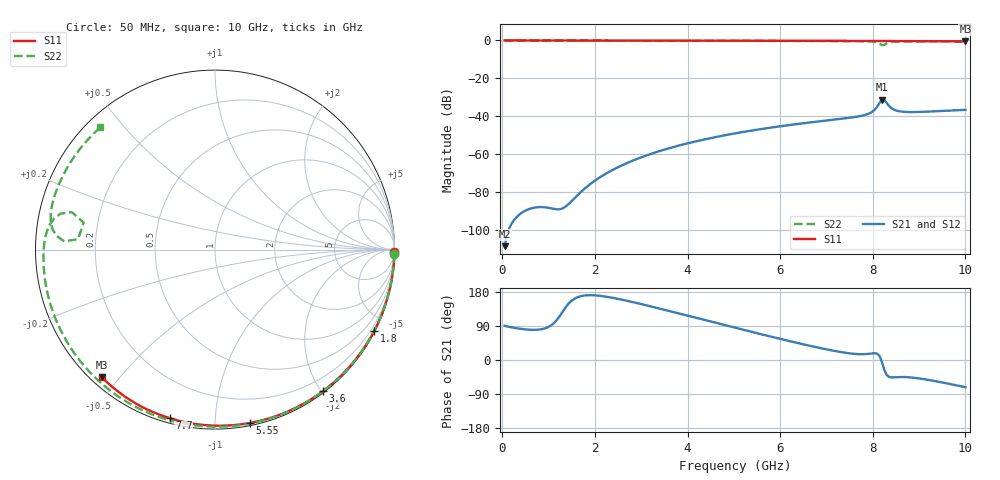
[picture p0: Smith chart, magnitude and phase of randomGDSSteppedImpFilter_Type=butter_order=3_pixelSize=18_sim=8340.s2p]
! freq	dB(S11)	phase(S11)	dB(S12)	phase(S12)
!  dB(S21)	phase(S21)	dB(S22)	phase(S22)
!S-par simulation data
#  GHz  S  DB  R 50
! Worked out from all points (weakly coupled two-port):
!   200 points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, 50 MHz to 10 GHz, reference 50 ohm
!   highest |S21| = -31.20 dB at 8.2 GHz (marker M1); lowest = -108.5 dB at 50 MHz (marker M2)
!   lowest |S11| = -0.4 dB at 10 GHz (marker M3), VSWR 39.29, Z = 1.53 - j22.5 ohm
!   |S11| at or under -10 dB: nowhere
!   |S22| runs from -2.5 to 0.0 dB; largest |S21 - S12| = 0
!   S11 on the Smith chart (normalised r, x): 50 MHz: open; 1.8 GHz: 0.04, -4.17; 3.6 GHz: 0.02, -2.02; 5.55 GHz: 0.02, -1.22; 7.7 GHz: 0.02, -0.77; 10 GHz: 0.03, -0.45
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0.05  -0.00 -0.8  -108.50 90.5  -108.50 90.5  -0.00 -1.4
0.85  -0.02 -12.8  -87.88 81.3  -87.88 81.3  -0.03 -23.5
1.65  -0.03 -24.7  -81.00 166.9  -81.00 166.9  -0.06 -45.0
1.75  -0.03 -26.2  -78.74 169.8  -78.74 169.8  -0.06 -47.6
1.8  -0.03 -26.9  -77.69 170.6  -77.69 170.6  -0.06 -48.9
2.1  -0.04 -31.3  -72.29 169.5  -72.29 169.5  -0.07 -56.6
2.45  -0.05 -36.4  -67.43 162.5  -67.43 162.5  -0.08 -65.5
3.4  -0.07 -49.9  -58.33 135.6  -58.33 135.6  -0.11 -88.3
3.6  -0.07 -52.7  -56.87 129.5  -56.87 129.5  -0.12 -93.0
4.3  -0.09 -62.3  -52.55 107.7  -52.55 107.7  -0.15 -108.7
5.05  -0.11 -72.2  -48.91 84.4  -48.91 84.4  -0.18 -124.8
5.55  -0.13 -78.7  -46.88 69.2  -46.88 69.2  -0.21 -135.2
6.7  -0.18 -93.1  -43.09 35.9  -43.09 35.9  -0.29 -158.7
7.7  -0.24 -105.1  -40.04 15.4  -40.04 15.4  -0.41 179.7
8  -0.26 -108.6  -37.37 17.6  -37.37 17.6  -0.64 171.0
8.15  -0.28 -110.3  -32.82 9.7  -32.82 9.7  -1.68 165.3
8.2  -0.28 -110.9  -31.20 -6.1  -31.20 -6.1  -2.53 168.4
8.25  -0.28 -111.4  -31.38 -26.6  -31.38 -26.6  -2.32 175.7
8.35  -0.28 -112.6  -34.49 -44.5  -34.49 -44.5  -1.03 175.0
8.5  -0.29 -114.4  -36.90 -45.4  -36.90 -45.4  -0.61 169.3
8.7  -0.31 -116.7  -37.69 -45.0  -37.69 -45.0  -0.52 163.6
10  -0.44 -131.5  -36.59 -71.7  -36.59 -71.7  -0.59 133.2
